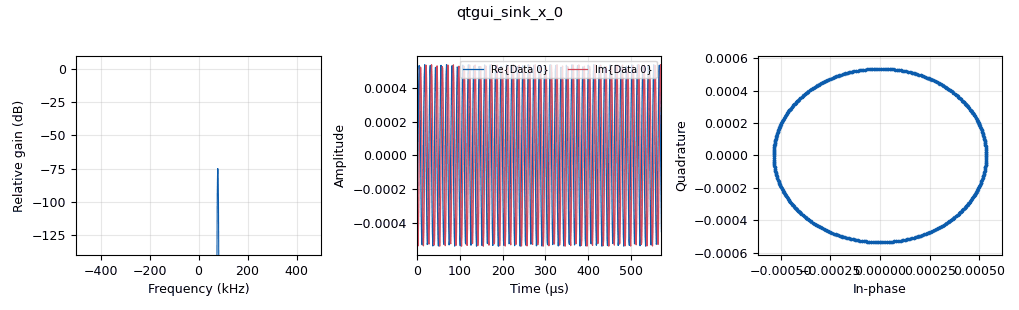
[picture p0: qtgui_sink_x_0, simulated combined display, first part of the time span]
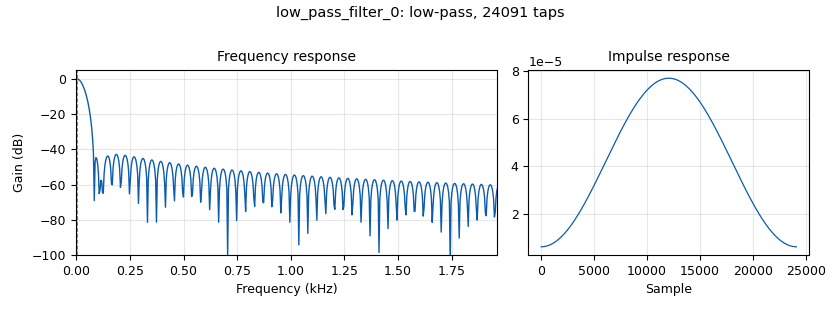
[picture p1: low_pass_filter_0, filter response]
options:
  parameters:
    generate_options: qt_gui
    id: DCF77
    output_language: python
    title: Not titled yet
  states: {}

blocks:
- name: samp_rate
  id: variable
  parameters:
    value: 1e6
  states: {}
- name: analog_sig_source_x_0
  id: analog_sig_source_x
  parameters:
    amp: '1'
    freq: 77.5e3
    offset: '0'
    phase: '0'
    samp_rate: samp_rate
    type: complex
    waveform: analog.GR_COS_WAVE
  states: {}
- name: analog_sig_source_x_1
  id: analog_sig_source_x
  parameters:
    amp: '1'
    freq: '1000'
    offset: '0'
    phase: '0'
    samp_rate: samp_rate
    type: complex
    waveform: analog.GR_COS_WAVE
  states: {}
- name: blocks_add_const_vxx_0
  id: blocks_add_const_vxx
  parameters:
    const: '0'
    type: complex
  states: {}
- name: blocks_multiply_const_vxx_0
  id: blocks_multiply_const_vxx
  parameters:
    const: '1'
    type: complex
  states: {}
- name: blocks_multiply_xx_0
  id: blocks_multiply_xx
  parameters:
    type: complex
  states: {}
- name: blocks_throttle2_0
  id: blocks_throttle2
  parameters:
    samples_per_second: samp_rate
    type: complex
  states: {}
- name: low_pass_filter_0
  id: low_pass_filter
  parameters:
    cutoff_freq: '5'
    decim: '1'
    gain: '1'
    samp_rate: samp_rate
    type: fir_filter_ccf
    width: '100'
    win: window.WIN_HAMMING
  states: {}
- name: qtgui_sink_x_0
  id: qtgui_sink_x
  parameters:
    bw: samp_rate
    fc: '0'
    fftsize: '1024'
    type: complex
  states: {}
- name: rational_resampler_xxx_0
  id: rational_resampler_xxx
  parameters:
    decim: '1'
    interp: '1'
    type: ccc
  states: {}

connections:
- [analog_sig_source_x_0, '0', blocks_multiply_const_vxx_0, '0']
- [analog_sig_source_x_1, '0', rational_resampler_xxx_0, '0']
- [blocks_add_const_vxx_0, '0', blocks_multiply_xx_0, '0']
- [blocks_multiply_const_vxx_0, '0', blocks_add_const_vxx_0, '0']
- [blocks_multiply_xx_0, '0', blocks_throttle2_0, '0']
- [blocks_throttle2_0, '0', qtgui_sink_x_0, '0']
- [low_pass_filter_0, '0', blocks_multiply_xx_0, '1']
- [rational_resampler_xxx_0, '0', low_pass_filter_0, '0']

metadata:
  file_format: 1
  grc_version: 3.10.9.2
